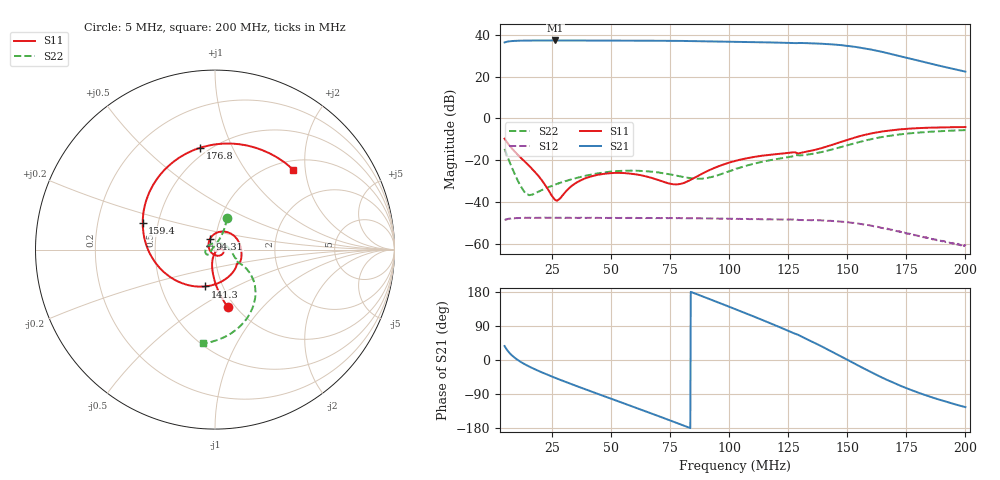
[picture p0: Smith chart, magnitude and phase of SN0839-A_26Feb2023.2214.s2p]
# Hz S DB R 50
! CMT, M5045, 22160017, 22.4.3/2
! Date: 2/26/2023 22:14:03
! Data: Format (Calibration Info)
! Freq	S11:dB/Ang(F2)	S21:dB/Ang(F2)	S12:dB/Ang(F2)	S22:dB/Ang(F2)
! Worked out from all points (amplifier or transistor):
!   1001 points, 5 MHz to 200 MHz, reference 50 ohm
!   highest |S21| = 37.4 dB at 26.45 MHz (marker M1)
!   |S21| within 3 dB of that: start of sweep to 153 MHz
!   unconditionally stable (mu >= 1): start of sweep to end of sweep
!   at 37.37 MHz: K = 1.77, MAG = 37.4 dB, |S12| = -47.6 dB
!   at 102.5 MHz: K = 1.95, MAG = 36.8 dB, |S12| = -48.0 dB
!   at 200 MHz: K = 19.44, MAG = 25.9 dB, |S12| = -61.2 dB
!   S11 on the Smith chart (normalised r, x): 5 MHz: 0.93, -0.66; 94.31 MHz: 0.94, +0.12; 141.3 MHz: 0.83, -0.36; 159.4 MHz: 0.41, +0.15; 176.8 MHz: 0.45, +0.76; 200 MHz: 1.18, +1.72
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5000000  -9.67 -77.3  36.43 36.8  -48.58 39.8  -14.56 69.6
7925000  -14.14 -88.5  37.06 13.2  -47.85 16.0  -23.12 66.3
1.202e7  -19.00 -97.7  37.27 -5.8  -47.64 -2.8  -32.74 91.4
1.865e7  -26.64 -104.2  37.35 -26.8  -47.54 -23.4  -35.41 173.3
2.645e7  -39.04 -55.9  37.37 -47.2  -47.57 -43.4  -31.64 -154.1
3.7565e7  -29.43 6.2  37.34 -73.6  -47.53 -68.1  -27.88 -143.5
4.5365e7  -26.79 -4.8  37.31 -91.5  -47.57 -85.3  -26.15 -145.6
5.336e7  -26.05 -21.8  37.28 -109.6  -47.68 -102.4  -25.15 -153.6
7.013e7  -29.53 -80.4  37.22 -148.1  -47.72 -137.9  -25.88 175.6
8.2415e7  -30.10 178.9  37.11 -176.9  -47.70 -165.8  -28.40 129.6
9.431e7  -23.44 113.3  36.92 154.5  -47.94 167.3  -27.50 59.7
1.025e8  -20.36 82.6  36.75 134.5  -48.04 148.1  -24.36 23.9
1.1108e8  -18.32 51.6  36.56 113.2  -48.22 127.9  -21.51 0.0
1.1927e8  -17.15 18.7  36.38 92.2  -48.36 108.2  -19.60 -15.0
1.29605e8  -16.67 -34.4  36.17 65.0  -48.62 79.9  -17.67 -28.0
1.35065e8  -15.36 -65.5  35.99 48.5  -48.76 65.4  -16.98 -28.7
1.41305e8  -13.47 -104.9  35.66 29.2  -48.91 47.1  -15.52 -29.3
1.4969e8  -10.35 -153.3  34.85 1.8  -49.66 20.5  -12.95 -33.1
1.5944e8  -7.34 159.7  33.15 -30.1  -51.15 -10.7  -10.08 -44.1
1.6763e8  -5.78 127.5  31.17 -54.7  -53.03 -35.0  -8.34 -56.6
1.76795e8  -4.83 98.3  28.65 -78.6  -55.27 -57.1  -7.08 -70.1
2e8  -4.11 45.7  22.43 -124.4  -61.16 -102.5  -5.57 -97.2
